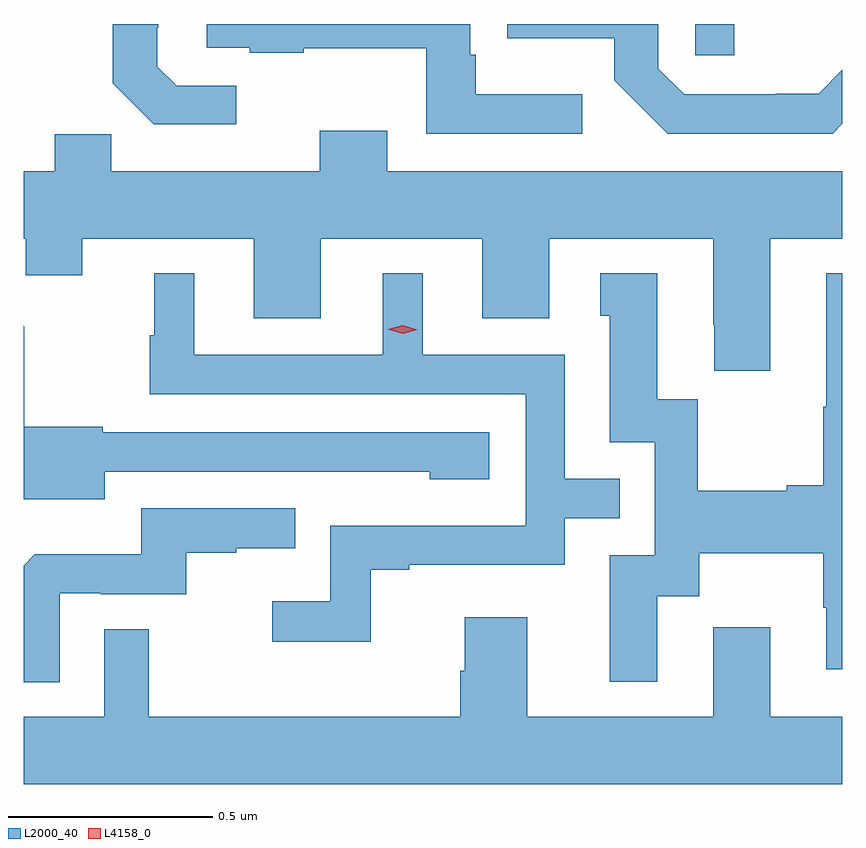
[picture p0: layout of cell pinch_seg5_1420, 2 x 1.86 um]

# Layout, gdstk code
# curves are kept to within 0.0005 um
import gdstk
lib = gdstk.Library(unit=1e-6, precision=1e-09)
def R(c, l, rs):  # rectangles x0, y0, x1, y1
    for r in rs: c.add(gdstk.rectangle(r[:2], r[2:], *l))
def P(c, l, *ps):  # polygons
    for p in ps: c.add(gdstk.Polygon(p, *l))
L2000_40 = (2000, 40)
L4158_0 = (4158, 0)

pinch_seg5_1420 = lib.new_cell('pinch_seg5_1420')
R(pinch_seg5_1420, L2000_40, [(241.323,901.164,241.419,901.24)])
P(pinch_seg5_1420, L2000_40, [(240.202,901.089),(240.057,901.089),(240.01,901.136),(240.01,901.231),(240.012,901.231),(240.012,901.24),(239.901,901.24),(239.901,901.095),(240.001,900.995),(240.202,900.995)],
  [(241.683,900.996),(241.683,901.128),(241.625,901.07),(241.52,901.07),(241.52,901.068),(241.296,901.068),(241.233,901.131),(241.233,901.24),(240.864,901.24),(240.864,901.205),(241.126,901.205),(241.126,901.103),(241.256,900.972),(241.659,900.972)],
  [(241.048,901.069),(240.787,901.069),(240.787,901.165),(240.774,901.165),(240.774,901.24),(240.131,901.24),(240.131,901.182),(240.235,901.182),(240.235,901.17),(240.367,901.17),(240.367,901.181),(240.666,901.181),(240.666,900.972),(241.048,900.972)],
  [(241.507,900.716),(241.683,900.716),(241.683,900.88),(240.571,900.88),(240.571,900.979),(240.407,900.979),(240.407,900.88),(239.897,900.88),(239.897,900.971),(239.759,900.971),(239.759,900.88),(239.683,900.88),(239.683,900.716),(239.689,900.716),(239.689,900.626),(239.827,900.626),(239.827,900.716),(240.245,900.716),(240.245,900.522),(240.409,900.522),(240.409,900.716),(240.803,900.716),(240.803,900.522),(240.967,900.522),(240.967,900.716),(241.367,900.716),(241.367,900.505),(241.37,900.505),(241.37,900.393),(241.507,900.393)],
  [(240.531,899.907),(240.625,899.907),(240.625,899.919),(241.005,899.919),(241.005,900.033),(241.139,900.033),(241.139,900.129),(241.005,900.129),(241.005,900.432),(240.658,900.432),(240.658,900.631),(240.56,900.631),(240.56,900.432),(240.1,900.432),(240.1,900.631),(240.002,900.631),(240.002,900.48),(239.991,900.48),(239.991,900.336),(240.909,900.336),(240.909,900.015),(240.432,900.015),(240.432,899.83),(240.291,899.83),(240.291,899.732),(240.531,899.732)],
  [(241.231,899.842),(241.333,899.842),(241.333,899.948),(241.636,899.948),(241.636,899.814),(241.643,899.814),(241.643,899.664),(241.683,899.664),(241.683,900.631),(241.643,900.631),(241.643,900.305),(241.636,900.305),(241.636,900.113),(241.547,900.113),(241.547,900.1),(241.329,900.1),(241.329,900.323),(241.231,900.323),(241.231,900.631),(241.091,900.631),(241.091,900.528),(241.115,900.528),(241.115,900.219),(241.224,900.219),(241.224,899.943),(241.115,899.943),(241.115,899.634),(241.231,899.634)],
  [(239.881,900.147),(240.439,900.147),(240.439,900.146),(240.675,900.146),(240.675,900.128),(240.82,900.128),(240.82,900.243),(239.877,900.243),(239.877,900.256),(239.685,900.256),(239.685,900.501),(239.683,900.503),(239.683,900.08),(239.881,900.08)],
  [(239.772,899.85),(239.872,899.85),(239.872,899.847),(240.08,899.847),(240.08,899.949),(240.203,899.949),(240.203,899.96),(240.347,899.96),(240.347,900.057),(239.97,900.057),(239.97,899.945),(239.711,899.945),(239.683,899.917),(239.683,899.633),(239.772,899.633)],
  [(241.683,899.548),(241.507,899.548),(241.507,899.767),(241.367,899.767),(241.367,899.548),(240.913,899.548),(240.913,899.791),(240.761,899.791),(240.761,899.661),(240.749,899.661),(240.749,899.548),(239.989,899.548),(239.989,899.762),(239.88,899.762),(239.88,899.548),(239.683,899.548),(239.683,899.384),(241.683,899.384)])
P(pinch_seg5_1420, L4158_0, [(240.609,900.484),(240.573,900.494),(240.573,900.494),(240.573,900.494),(240.609,900.504),(240.645,900.493),(240.645,900.493),(240.645,900.493)])

lib.write_gds('pinch_seg5_1420.gds')
